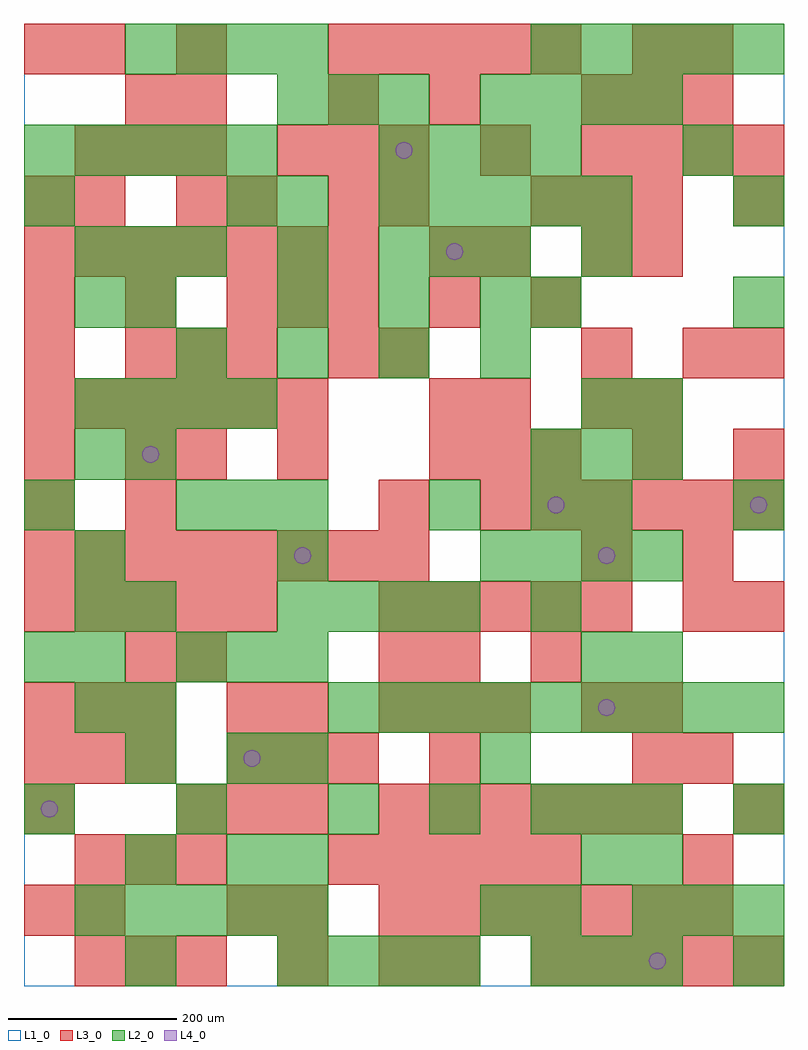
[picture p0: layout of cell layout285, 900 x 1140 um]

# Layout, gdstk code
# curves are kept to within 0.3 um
import gdstk
lib = gdstk.Library(unit=1e-6, precision=1e-09)
def R(c, l, rs):  # rectangles x0, y0, x1, y1
    for r in rs: c.add(gdstk.rectangle(r[:2], r[2:], *l))
def A(c, l, x, y, w, h, nx, ny, dx, dy):  # array of equal rectangles
    R(c, l, [(x+i*dx, y+j*dy, x+i*dx+w, y+j*dy+h) for i in range(nx) for j in range(ny)])
def P(c, l, *ps):  # polygons
    for p in ps: c.add(gdstk.Polygon(p, *l))
L1_0 = (1, 0)
L2_0 = (2, 0)
L3_0 = (3, 0)
L4_0 = (4, 0)

layout285 = lib.new_cell('layout285')
R(layout285, L1_0, [(0,0,900,1140)])
A(layout285, L2_0, 120, 0, 60, 60, 1, 3, 0, 120)
A(layout285, L2_0, 300, 0, 60, 60, 4, 2, 60, 420)
A(layout285, L2_0, 600, 0, 60, 60, 3, 2, 60, 180)
A(layout285, L2_0, 60, 60, 60, 60, 5, 1, 60, 0)
A(layout285, L2_0, 720, 60, 60, 60, 3, 1, 60, 0)
A(layout285, L2_0, 0, 180, 60, 60, 3, 1, 180, 0)
A(layout285, L2_0, 60, 300, 60, 60, 1, 3, 0, 60)
A(layout285, L2_0, 360, 300, 60, 60, 9, 1, 60, 0)
A(layout285, L2_0, 180, 360, 60, 60, 3, 2, 60, 180)
A(layout285, L2_0, 120, 420, 60, 60, 1, 3, 0, 180)
A(layout285, L2_0, 60, 480, 60, 60, 3, 1, 240, 0)
A(layout285, L2_0, 600, 480, 60, 60, 3, 2, 60, 120)
A(layout285, L2_0, 60, 660, 60, 60, 4, 1, 60, 0)
A(layout285, L2_0, 180, 720, 60, 60, 4, 1, 120, 0)
A(layout285, L2_0, 300, 780, 60, 60, 3, 1, 120, 0)
A(layout285, L2_0, 60, 840, 60, 60, 3, 1, 60, 0)
A(layout285, L2_0, 420, 840, 60, 60, 3, 1, 60, 0)
A(layout285, L2_0, 420, 900, 60, 60, 5, 1, 60, 0)
A(layout285, L2_0, 0, 960, 60, 60, 5, 1, 60, 0)
A(layout285, L2_0, 420, 960, 60, 60, 4, 1, 60, 0)
A(layout285, L2_0, 300, 1020, 60, 60, 3, 1, 60, 0)
A(layout285, L2_0, 540, 1020, 60, 60, 4, 1, 60, 0)
A(layout285, L2_0, 120, 1080, 60, 60, 4, 1, 60, 0)
A(layout285, L2_0, 600, 1080, 60, 60, 5, 1, 60, 0)
R(layout285, L2_0, [(840,0,900,60), (540,60,600,120), (600,60,660,120), (240,120,300,180), (300,120,360,180), (660,120,720,180), (720,120,780,180), (480,180,540,240), (840,180,900,240), (240,240,300,300), (300,240,360,300), (540,240,600,300), (120,300,180,360), (0,360,60,420), (660,360,720,420), (720,360,780,420), (600,420,660,480), (0,540,60,600), (480,540,540,600), (600,540,660,600), (660,540,720,600), (840,540,900,600), (60,600,120,660), (660,660,720,720), (720,660,780,720), (60,780,120,840), (600,780,660,840), (840,780,900,840), (300,840,360,900), (660,840,720,900), (0,900,60,960), (240,900,300,960), (300,900,360,960), (840,900,900,960), (780,960,840,1020)])
A(layout285, L3_0, 60, 0, 60, 60, 3, 2, 60, 120)
A(layout285, L3_0, 600, 0, 60, 60, 5, 1, 60, 0)
A(layout285, L3_0, 420, 60, 60, 60, 7, 1, 60, 0)
A(layout285, L3_0, 360, 120, 60, 60, 5, 2, 60, 960)
A(layout285, L3_0, 180, 180, 60, 60, 3, 1, 60, 0)
A(layout285, L3_0, 420, 180, 60, 60, 6, 1, 60, 0)
A(layout285, L3_0, 0, 240, 60, 60, 3, 2, 60, 60)
A(layout285, L3_0, 240, 240, 60, 60, 3, 1, 60, 0)
A(layout285, L3_0, 420, 300, 60, 60, 3, 1, 60, 0)
A(layout285, L3_0, 660, 300, 60, 60, 1, 3, 0, 180)
A(layout285, L3_0, 420, 360, 60, 60, 1, 4, 0, 180)
A(layout285, L3_0, 0, 420, 60, 60, 5, 1, 60, 0)
A(layout285, L3_0, 420, 420, 60, 60, 5, 1, 60, 0)
A(layout285, L3_0, 0, 480, 60, 60, 8, 1, 60, 0)
A(layout285, L3_0, 540, 540, 60, 60, 6, 1, 60, 0)
A(layout285, L3_0, 480, 600, 60, 60, 3, 1, 60, 0)
A(layout285, L3_0, 0, 660, 60, 60, 6, 1, 60, 0)
A(layout285, L3_0, 480, 660, 60, 60, 1, 3, 0, 180)
A(layout285, L3_0, 0, 720, 60, 60, 1, 3, 0, 180)
A(layout285, L3_0, 120, 720, 60, 60, 3, 1, 60, 0)
A(layout285, L3_0, 0, 780, 60, 60, 3, 1, 120, 0)
A(layout285, L3_0, 360, 780, 60, 60, 3, 1, 120, 0)
A(layout285, L3_0, 0, 840, 60, 60, 7, 1, 60, 0)
A(layout285, L3_0, 600, 900, 60, 60, 3, 1, 60, 0)
A(layout285, L3_0, 60, 960, 60, 60, 3, 1, 60, 0)
A(layout285, L3_0, 300, 960, 60, 60, 3, 1, 60, 0)
A(layout285, L3_0, 660, 960, 60, 60, 4, 1, 60, 0)
A(layout285, L3_0, 660, 1020, 60, 60, 3, 1, 60, 0)
R(layout285, L3_0, [(300,0,360,60), (420,0,480,60), (480,0,540,60), (0,60,60,120), (60,60,120,120), (240,60,300,120), (300,60,360,120), (780,120,840,180), (0,180,60,240), (840,180,900,240), (480,240,540,300), (720,240,780,300), (780,240,840,300), (240,300,300,360), (300,300,360,360), (720,300,780,360), (120,360,180,420), (180,360,240,420), (480,360,540,420), (600,360,660,420), (780,420,840,480), (840,420,900,480), (780,480,840,540), (0,540,60,600), (120,540,180,600), (0,600,60,660), (120,600,180,660), (180,600,240,660), (300,600,360,660), (720,600,780,660), (840,600,900,660), (540,660,600,720), (720,660,780,720), (360,720,420,780), (660,720,720,780), (780,720,840,780), (840,720,900,780), (300,780,360,840), (540,840,600,900), (660,840,720,900), (720,840,780,900), (60,900,120,960), (180,900,240,960), (240,900,300,960), (360,900,420,960), (840,900,900,960), (540,960,600,1020), (120,1020,180,1080), (180,1020,240,1080), (360,1020,420,1080), (60,1080,120,1140), (180,1080,240,1140), (720,1080,780,1140), (780,1080,840,1140)])
P(layout285, L4_0, [(40,210),(39.239,213.827),(37.071,217.071),(33.827,219.239),(30,220),(26.173,219.239),(22.929,217.071),(20.761,213.827),(20,210),(20.761,206.173),(22.929,202.929),(26.173,200.761),(30,200),(33.827,200.761),(37.071,202.929),(39.239,206.173)],
  [(160,630),(159.239,633.827),(157.071,637.071),(153.827,639.239),(150,640),(146.173,639.239),(142.929,637.071),(140.761,633.827),(140,630),(140.761,626.173),(142.929,622.929),(146.173,620.761),(150,620),(153.827,620.761),(157.071,622.929),(159.239,626.173)],
  [(280,270),(279.239,273.827),(277.071,277.071),(273.827,279.239),(270,280),(266.173,279.239),(262.929,277.071),(260.761,273.827),(260,270),(260.761,266.173),(262.929,262.929),(266.173,260.761),(270,260),(273.827,260.761),(277.071,262.929),(279.239,266.173)],
  [(340,510),(339.239,513.827),(337.071,517.071),(333.827,519.239),(330,520),(326.173,519.239),(322.929,517.071),(320.761,513.827),(320,510),(320.761,506.173),(322.929,502.929),(326.173,500.761),(330,500),(333.827,500.761),(337.071,502.929),(339.239,506.173)],
  [(460,990),(459.239,993.827),(457.071,997.071),(453.827,999.239),(450,1000),(446.173,999.239),(442.929,997.071),(440.761,993.827),(440,990),(440.761,986.173),(442.929,982.929),(446.173,980.761),(450,980),(453.827,980.761),(457.071,982.929),(459.239,986.173)],
  [(520,870),(519.239,873.827),(517.071,877.071),(513.827,879.239),(510,880),(506.173,879.239),(502.929,877.071),(500.761,873.827),(500,870),(500.761,866.173),(502.929,862.929),(506.173,860.761),(510,860),(513.827,860.761),(517.071,862.929),(519.239,866.173)],
  [(640,570),(639.239,573.827),(637.071,577.071),(633.827,579.239),(630,580),(626.173,579.239),(622.929,577.071),(620.761,573.827),(620,570),(620.761,566.173),(622.929,562.929),(626.173,560.761),(630,560),(633.827,560.761),(637.071,562.929),(639.239,566.173)],
  [(700,330),(699.239,333.827),(697.071,337.071),(693.827,339.239),(690,340),(686.173,339.239),(682.929,337.071),(680.761,333.827),(680,330),(680.761,326.173),(682.929,322.929),(686.173,320.761),(690,320),(693.827,320.761),(697.071,322.929),(699.239,326.173)],
  [(700,510),(699.239,513.827),(697.071,517.071),(693.827,519.239),(690,520),(686.173,519.239),(682.929,517.071),(680.761,513.827),(680,510),(680.761,506.173),(682.929,502.929),(686.173,500.761),(690,500),(693.827,500.761),(697.071,502.929),(699.239,506.173)],
  [(760,30),(759.239,33.827),(757.071,37.071),(753.827,39.239),(750,40),(746.173,39.239),(742.929,37.071),(740.761,33.827),(740,30),(740.761,26.173),(742.929,22.929),(746.173,20.761),(750,20),(753.827,20.761),(757.071,22.929),(759.239,26.173)],
  [(880,570),(879.239,573.827),(877.071,577.071),(873.827,579.239),(870,580),(866.173,579.239),(862.929,577.071),(860.761,573.827),(860,570),(860.761,566.173),(862.929,562.929),(866.173,560.761),(870,560),(873.827,560.761),(877.071,562.929),(879.239,566.173)])

lib.write_gds('layout285.gds')
